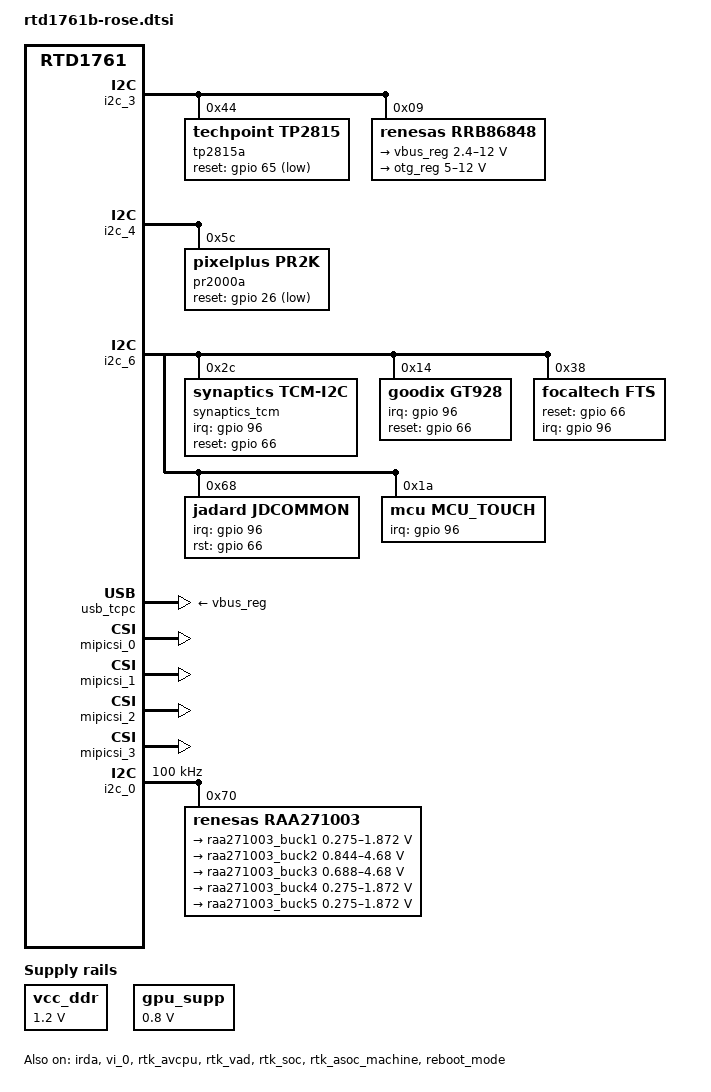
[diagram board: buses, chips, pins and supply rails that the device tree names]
// SPDX-License-Identifier: (GPL-2.0-or-later OR BSD-2-Clause)
/*
 * Realtek RTD1761B Rose EVB
 *
 * Copyright (c) 2025 Realtek Semiconductor Corp.
 */

/dts-v1/;

#include <dt-bindings/thermal/thermal.h>
#include <dt-bindings/regulator/anpec,apw888x.h>
#include "rtd1761.dtsi"

/ {
	chosen {
		bootargs = "earlycon=uart8250,mmio32,0x98007800 console=ttyS0,460800 8250.nr_uarts=11 8250.share_irqs=1 init=/init loglevel=8 max_loop=64 loop.max_part=7 firmware_class.path=/vendor/firmware/,/vendor/av_fw";
		stdout-path = "serial0:460800n8";
	};

	vcc_ddr: vcc1v2-ddr {
		compatible = "regulator-fixed";
		regulator-name = "vcc1v2-ddr";
		regulator-min-microvolt = <1200000>;
		regulator-max-microvolt = <1200000>;
	};
};

&{/} {
	gpu_supp: fixed-gpu {
		compatible = "regulator-fixed";
		regulator-name = "gpu";
		regulator-min-microvolt = <800000>;
		regulator-max-microvolt = <800000>;
	};
};

&gpu {
	mali-supply = <&gpu_supp>;
	shadercores-supply = <&gpu_supp>;
	operating-points-v2 = <&gpu_opps>;

	gpu_opps: opp-table-gpu {
		compatible = "operating-points-v2", "operating-points-v2-mali";

		opp-405000000 {
			opp-hz = /bits/ 64 <405000000>;
			opp-hz-real = /bits/ 64 <405000000>;
			opp-microvolt = <800000>, <800000>;
			opp-suspend;
		};

		opp-540000000 {
			opp-hz = /bits/ 64 <540000000>;
			opp-hz-real = /bits/ 64 <540000000>;
			opp-microvolt = <800000>, <800000>;
		};

		opp-729000000 {
			opp-hz = /bits/ 64 <729000000>;
			opp-hz-real = /bits/ 64 <729000000>;
			opp-microvolt = <800000>, <800000>;
		};

		opp-810000000 {
			opp-hz = /bits/ 64 <810000000>;
			opp-hz-real = /bits/ 64 <810000000>;
			opp-microvolt = <800000>, <800000>;
		};
	};
};

&i2c_3 {
	status = "okay";

	tp2815a: tp2815@44 {
		compatible = "techpoint,tp2815";
		reg = <0x44>;
		reset-gpios = <&gpio 65 GPIO_ACTIVE_LOW>;
	};

	/* RRB86848 Buck-Boost Charger */
	rrb86848: charger@12 {
		compatible = "renesas,rrb86848";
		reg = <0x9>;

		regulators {
			#address-cells = <1>;
			#size-cells = <0>;

			vbus_reg: rrb86848-vbus@0 {
				reg = <0>;
				regulator-name = "usbc-vbus-output";
				regulator-min-microvolt = <2400000>;
				regulator-max-microvolt = <12000000>;
				regulator-min-microamp = <0>;
				regulator-max-microamp = <3000000>;    /* 3A */
				regulator-allow-set-voltage-while-enabled;
			};

			otg_reg: rrb86848-otg@1 {
				reg = <1>;
				regulator-name = "usbc-otg-output";
				regulator-min-microvolt =  <5000000>;
				regulator-max-microvolt = <12000000>;
				regulator-allow-set-voltage-while-enabled;
			};
		};
	};
};

&i2c_4 {
	status = "okay";

	pr2000a: pr2000@5c {
		compatible = "pixelplus,pr2k";
		reg = <0x5c>;
		reset-gpios = <&gpio 26 GPIO_ACTIVE_LOW>;
		camera-fmt = <3>;
		bt-mode = <0>;
		cascade-mode = <0>;
	};
};

&i2c_6 {
	status = "okay";

	synaptics_tcm@2c{
		compatible = "synaptics,tcm-i2c";
		reg = <0x2c>;

		synaptics,avdd-name = "avdd";
		synaptics,vdd-name = "vdd";
		synaptics,power-delay-ms = <200>;
		synaptics,irq-gpio = <&gpio 96 IRQ_TYPE_EDGE_FALLING>;
		synaptics,irq-on-state = <0>;
		synaptics,reset-gpio = <&gpio 66 0x0>;
		synaptics,reset-on-state = <0>;
		synaptics,reset-active-ms = <20>;
		synaptics,reset-delay-ms = <200>;
	};

	goodix@14{
		compatible = "goodix,gt928";
		reg = <0x14>;
		edge-falling-trigger;
		interrupt-parent = <&gpio>;
		interrupts = <96 IRQ_TYPE_EDGE_FALLING>;
		irq-gpios = <&gpio 96 GPIO_ACTIVE_HIGH>;
		reset-gpios = <&gpio 66 GPIO_ACTIVE_HIGH>;
		//touchscreen-size-x = <1024>;
		//touchscreen-size-y = <600>;
		touchscreen-inverted-x;
		status = "okay";
	};

	focaltech@38{
		compatible = "focaltech,fts";
		reg = <0x38>;
		interrupt-parent = <&gpio>;
		interrupts = <96 IRQ_TYPE_EDGE_FALLING>;
		focaltech,reset-gpio = <&gpio 66 GPIO_ACTIVE_HIGH>;
		focaltech,irq-gpio = <&gpio 96 IRQ_TYPE_EDGE_FALLING>;
		focaltech,max-touch-number = <10>;
		focaltech,display-coords =  <0 0 1920 720>;
	};

	jadard@68{
		compatible = "jadard,jdcommon";
		reg = <0x68>;

		jadard,panel-max-points = <10>;
		jadard,int-is-edge = <1>;
		jadard,stylus = <0>;
		jadard,panel-sense-nums = <1 1>;
		jadard,panel-coords = <0 1920 0 1200>;
		jadard,irq-gpio = <&gpio 96 GPIO_ACTIVE_HIGH>;
		jadard,rst-gpio = <&gpio 66 GPIO_ACTIVE_HIGH>;
		status = "okay";
	};

	mcu_touch@1a{
		compatible = "mcu,mcu_touch";
		reg = <0x1a>;

		mcu,irq-gpio = <&gpio 96 IRQ_TYPE_EDGE_FALLING>;
		status = "okay";
	};
};

/* link regulators to extcon typec */
&type_c {
	vbus-supply = <&vbus_reg>;  /* rrb86848-vbus */
	otg-supply = <&otg_reg>;   /* rrb86848-otg */
	status = "disabled";
};

/* link regulators to tcpm/tcpc */
&usb_tcpc {
	vbus-supply = <&vbus_reg>;  /* rrb86848-vbus */
	otg-supply = <&otg_reg>;   /* rrb86848-otg */
	status = "okay";
};

&irda {
	status = "okay";
};

&mipicsi_0 {
	status = "okay";
};

&mipicsi_1 {
	status = "okay";
};

&mipicsi_2 {
	status = "okay";
};

&mipicsi_3 {
	status = "okay";
};

&vi_0 {
	pad-cfg = <3>;
	status = "okay";
};

&i2c_0 {
	status = "okay";
	clock-frequency = <3400000>;
	pinctrl-0 = <&i2c0_HS_pins>;
	status = "okay";

	apw7899e@12 {
		compatible = "anpec,apw7899";
		reg = <0x12>;

		regulators {
			compatible = "anpec,apw8886-regulator";

			vd33_supp: dc1 {
				regulator-name = "vd33";
				regulator-min-microvolt = <2200000>;
				regulator-max-microvolt = <3777500>;

				regulator-boot-on;
				regulator-always-on;
				regulator-initial-mode = <APW888X_DC_MODE_FORCE_PWM>;
				regulator-state-mem {
					regulator-on-in-suspend;
					regulator-suspend-microvolt = <3300000>;
				};
			};

			core_supp: dc2 {
				regulator-name = "core";
				regulator-min-microvolt = <550000>;
				regulator-max-microvolt = <1337500>;

				regulator-boot-on;
				regulator-always-on;
				regulator-initial-mode = <APW888X_DC_MODE_AUTO>;
				regulator-state-mem {
					regulator-on-in-suspend;
					regulator-suspend-microvolt = <800000>;
				};
			};

			cpu_supp: dc3 {
				regulator-name = "cpudvs";
				regulator-min-microvolt = <550000>;
				regulator-max-microvolt = <1337500>;

				regulator-boot-on;
				regulator-always-on;
				regulator-initial-mode = <APW888X_DC_MODE_AUTO>;
				regulator-ramp-delay = <625>;
				apw888x-disabled-in-shutdown;

				regulator-state-mem {
					regulator-off-in-suspend;
					regulator-changeable-in-suspend;
				};
			};

			vd18_supp: dc4 {
				regulator-name = "vd18";
				regulator-min-microvolt = <800000>;
				regulator-max-microvolt = <2060000>;

				regulator-boot-on;
				regulator-always-on;
				regulator-initial-mode = <APW888X_DC_MODE_AUTO>;
				regulator-state-mem {
					regulator-on-in-suspend;
				};
			};

			ddr_supp: dc5 {
				regulator-name = "ddr";
				regulator-min-microvolt = <1200000>;
				regulator-max-microvolt = <1200000>;
				regulator-boot-on;
				regulator-always-on;
				regulator-initial-mode = <APW888X_DC_MODE_AUTO>;
				vin-supply = <&vcc_ddr>;
				apw888x-disabled-in-shutdown;

				regulator-state-mem {
					regulator-on-in-suspend;
				};
			};

			vd25_supp: ldo1 {
				regulator-name = "vd25";
				regulator-min-microvolt = <1780000>;
				regulator-max-microvolt = <3020000>;

				regulator-boot-on;
				regulator-always-on;
				regulator-initial-mode = <APW888X_LDO_MODE_NORMAL>;
				regulator-state-mem {
					regulator-on-in-suspend;
				};
			};

			vfb5 {
				regulator-name = "vfb5";
				regulator-min-microvolt = <512500>;
				regulator-max-microvolt = <700000>;

				regulator-boot-on;
				regulator-always-on;
				regulator-state-mem {
					regulator-on-in-suspend;
				};
			};
		};
	};
};

&rtk_avcpu {
	status = "okay";
};

&{/} {
	clk_scpu: clk-scpu {
		compatible = "realtek,rtd1635-scpu-clk";
		realtek,cc = <&cc>;
		#clock-cells = <1>;
	};

	cpu_opps: opp-table-cpu {
		compatible = "operating-points-v2";
		opp-shared;

		opp1100: opp-1100000000 {
			opp-hz = /bits/ 64 <1100000000>;
			opp-microvolt = <950000 950000 1100000>;
			clock-latency-ns = <150000>;
			status = "okay";
		};

		opp1500: opp-1500000000 {
			opp-hz = /bits/ 64 <1500000000>;
			opp-microvolt = <1000000 1000000 1100000>;
			opp-suspend;
			clock-latency-ns = <150000>;
			status = "okay";
		};

		opp1700: opp-1700000000 {
			opp-hz = /bits/ 64 <1700000000>;
			opp-microvolt = <1050000 1050000 1100000>;
			clock-latency-ns = <150000>;
			status = "okay";
		};
	};

	cpu3_opps: opp-table-cpu3 {
		compatible = "operating-points-v2";
		opp-shared;

		cpu3_opp1200: opp-1200000000 {
			opp-hz = /bits/ 64 <1200000000>;
			opp-microvolt = <950000 950000 1100000>;
			clock-latency-ns = <150000>;
			status = "okay";
		};

		cpu3_opp1600: opp-1600000000 {
			opp-hz = /bits/ 64 <1600000000>;
			opp-microvolt = <1000000 1000000 1100000>;
			clock-latency-ns = <150000>;
			opp-suspend;
			status = "okay";
		};

		cpu3_opp1900: opp-1900000000 {
			opp-hz = /bits/ 64 <1900000000>;
			opp-microvolt = <1050000 1050000 1100000>;
			clock-latency-ns = <150000>;
			status = "okay";
		};
	};
};

&cpu0 {
	clocks = <&clk_scpu 0>;
	cpu-supply = <&cpu_supp>;
	operating-points-v2 = <&cpu_opps>;
	#cooling-cells = <2>;
};

&cpu1 {
	clocks = <&clk_scpu 0>;
	cpu-supply = <&cpu_supp>;
	operating-points-v2 = <&cpu_opps>;
	#cooling-cells = <2>;
};

&cpu2 {
	clocks = <&clk_scpu 0>;
	cpu-supply = <&cpu_supp>;
	operating-points-v2 = <&cpu_opps>;
	#cooling-cells = <2>;
};

&cpu3 {
	clocks = <&clk_scpu 1>;
	cpu-supply = <&cpu_supp>;
	operating-points-v2 = <&cpu3_opps>;
	#cooling-cells = <2>;
};

&rtk_pm {
	wakeup-gpio-list = <25 GPIO_WAKEUP_ENABLE GPIO_WAKEUP_ACTIVE_LOW>,
			   <77 GPIO_WAKEUP_ENABLE GPIO_WAKEUP_ACTIVE_LOW>;
};

&rtk_vad {
	status = "okay";
};

&rtk_soc {
	status = "okay";
};

&rtk_asoc_machine {
	pinctrl-names = "default";
	pinctrl-0 = <&ao_i2s0_pins>,
		    <&ao_spdif_pins>,
		    <&pcm_pins>;
	realtek,audio-platform = <&rtk_soc>;
	realtek,dai-link = "RDAI_DL0_FE", "RDAI_DL1_FE", "RDAI_DL2_FE",
			   "RDAI_DL3_FE", "RDAI_DL4_FE", "RDAI_DL5_FE",
			   "RDAI_DL6_FE", "RDAI_DL7_FE",
			   "RDAI_UL0_FE", "RDAI_UL1_FE",
			   "RDAI_SOC_AO0",
			   "RDAI_SOC_ADC0", "RDAI_SOC_ADC1",
			   "RDAI_SOC_I2S", "RDAI_SOC_I2S0_LOOPBACK";
	status = "okay";
};

&reboot_mode {
	status = "okay";
};

&pwr_ur_top {
	realtek,always-on;
};

&usb_port2 {
	realtek,power-gpio = <&gpio 63 1>;
};

&rfkill {
	rfkill-gpios = <&gpio 76 0>;
};

&i2c_0 {
	#address-cells = <1>;
	#size-cells = <0>;

	clock-frequency = <100000>;
	pinctrl-0 = <&i2c0_pins>;

	apw7899e@12 {
		reg = <0x12>;
		status = "disabled";
	};

	raa271003@70 {
		compatible = "renesas,raa271003";
		reg = <0x70>;

		regulators {
			compatible = "renesas,raa271003-regulator";

			raa271003_buck1: buck1 {
				regulator-name = "cpudvs";
				regulator-min-microvolt = <275000>;
				regulator-max-microvolt = <1871875>;
				regulator-allowed-modes = <0>, // RAA271003_MODE_AUTO
					      <1>; // RAA271003_MODE_FORCE_PWM
				regulator-boot-on;
				regulator-always-on;
				regulator-ramp-delay = <6250>;
			};

			raa271003_buck2: buck2 {
				regulator-name = "vd18";
				regulator-min-microvolt = <843740>;
				regulator-max-microvolt = <4679687>;
				regulator-allowed-modes = <0>, // RAA271003_MODE_AUTO
					      <1>; // RAA271003_MODE_FORCE_PWM
				regulator-boot-on;
				regulator-always-on;
			};

			raa271003_buck3: buck3 {
				regulator-name = "vd33";
				regulator-min-microvolt = <687500>;
				regulator-max-microvolt = <4679687>;
				regulator-allowed-modes = <0>, // RAA271003_MODE_AUTO
					      <1>; // RAA271003_MODE_FORCE_PWM
				regulator-boot-on;
				regulator-always-on;
			};

			raa271003_buck4: buck4 {
				regulator-name = "ip";
				regulator-min-microvolt = <275000>;
				regulator-max-microvolt = <1871875>;
				regulator-allowed-modes = <0>, // RAA271003_MODE_AUTO
					       <1>; // RAA271003_MODE_FORCE_PWM
				regulator-boot-on;
				regulator-always-on;
			};

			raa271003_buck5: buck5 {
				regulator-name = "vs06";
				regulator-min-microvolt = <275000>;
				regulator-max-microvolt = <1871875>;
				regulator-allowed-modes = <0>, // RAA271003_MODE_AUTO
					        <1>; // RAA271003_MODE_FORCE_PWM
				regulator-boot-on;
				regulator-always-on;
			};
		};
	};
};

&cpu0 {
	cpu-supply = <&raa271003_buck1>;
};

&cpu1 {
	cpu-supply = <&raa271003_buck1>;
};

&cpu2 {
	cpu-supply = <&raa271003_buck1>;
};

&cpu3 {
	cpu-supply = <&raa271003_buck1>;
};


